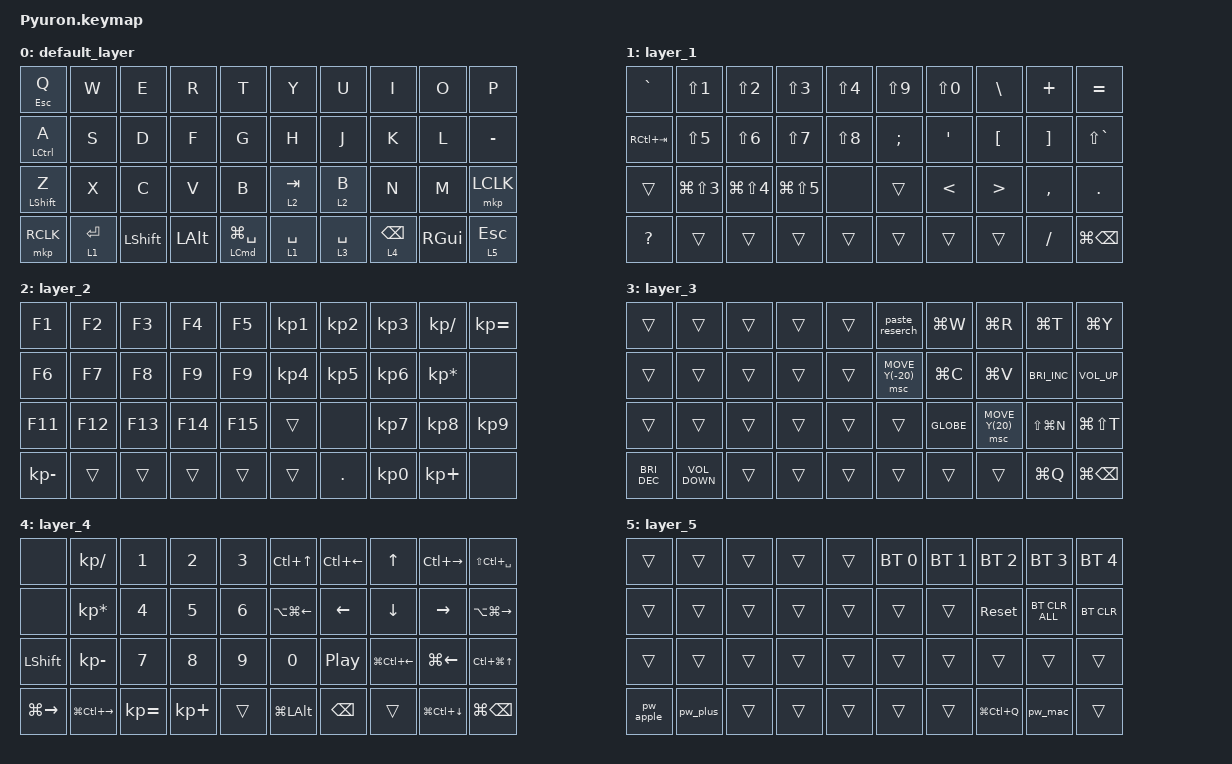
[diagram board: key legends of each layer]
#include <behaviors.dtsi>
#include <dt-bindings/zmk/bt.h>
#include <dt-bindings/zmk/keys.h>
#include <dt-bindings/zmk/pointing.h>

#define MOUSE 6

&mt {
    flavor = "balanced";
    quick-tap-ms = <0>;
};

/ {
    combos { compatible = "zmk,combos"; };

    macros {
        paste_reserch: paste_reserch {
            compatible = "zmk,behavior-macro";
            #binding-cells = <0>;
            bindings =
                <&kp LG(C)>,
                <&macro_wait_time 200>,
                <&kp LG(T)>,
                <&macro_wait_time 200>,
                <&kp LG(V)>,
                <&macro_wait_time 200>,
                <&kp ENTER>,
                <&macro_press>;

            label = "PASTE_RESERCH";
        };

        pw_mac: pq_mac {
            compatible = "zmk,behavior-macro";
            #binding-cells = <0>;
            bindings = <&kp N0 &kp N0 &kp N0 &kp N1 &kp N0 &kp N2 &kp ENTER>;
            label = "PQ_MAC";
        };

        pw_plus: pw_plus {
            compatible = "zmk,behavior-macro";
            #binding-cells = <0>;
            bindings = <&kp P &kp L &kp U &kp S &kp N1 &kp N0 &kp N2 &kp N0 &kp RETURN>;
            label = "PW_PLUS";
        };

        pw_apple: pw_apple {
            compatible = "zmk,behavior-macro";
            #binding-cells = <0>;
            bindings = <&kp R &kp LS(I) &kp N1 &kp H &kp N &kp A &kp G &kp T &kp O &kp E &kp RETURN>;
            label = "PW_APPLE";
        };
    };
};

/ {
    keymap {
        compatible = "zmk,keymap";

        default_layer {
            bindings = <
&mt ESC Q           &kp W        &kp E           &kp R         &kp T                       &kp Y        &kp U        &kp I            &kp O          &kp P
&mt LEFT_CONTROL A  &kp S        &kp D           &kp F         &kp G                       &kp H        &kp J        &kp K            &kp L          &kp MINUS
&mt LEFT_SHIFT Z    &kp X        &kp C           &kp V         &kp B                       &lt 2 TAB    &lt 2 B      &kp N            &kp M          &mkp LCLK
&mkp RCLK           &lt 1 ENTER  &kp LEFT_SHIFT  &kp LEFT_ALT  &mt LEFT_COMMAND LG(SPACE)  &lt 1 SPACE  &lt 3 SPACE  &lt 4 BACKSPACE  &kp RIGHT_GUI  &lt 5 ESCAPE
            >;
        };

        layer_1 {
            bindings = <
&kp GRAVE     &kp LS(NUMBER_1)      &kp LS(NUMBER_2)      &kp LS(NUMBER_3)  &kp LS(NUMBER_4)  &kp LS(N9)     &kp LS(N0)     &kp BACKSLASH     &kp PLUS           &kp EQUAL
&kp RC(TAB)   &kp LS(N5)            &kp LS(NUMBER_6)      &kp LS(N7)        &kp LS(N8)        &kp SEMICOLON  &kp SQT        &kp LEFT_BRACKET  &kp RIGHT_BRACKET  &kp LS(GRAVE)
&trans        &kp LG(LS(NUMBER_3))  &kp LG(LS(NUMBER_4))  &kp LG(LS(N5))    &none             &trans         &kp LESS_THAN  &kp GREATER_THAN  &kp COMMA          &kp PERIOD
&kp QUESTION  &trans                &trans                &trans            &trans            &trans         &trans         &trans            &kp FSLH           &kp LG(BACKSPACE)
            >;
        };

        layer_2 {
            bindings = <
&kp F1        &kp F2   &kp F3   &kp F4   &kp F5   &kp KP_NUMBER_1  &kp KP_NUMBER_2  &kp KP_NUMBER_3  &kp KP_SLASH     &kp KP_EQUAL
&kp F6        &kp F7   &kp F8   &kp F9   &kp F9   &kp KP_NUMBER_4  &kp KP_NUMBER_5  &kp KP_NUMBER_6  &kp KP_ASTERISK  &none
&kp F11       &kp F12  &kp F13  &kp F14  &kp F15  &trans           &none            &kp KP_NUMBER_7  &kp KP_NUMBER_8  &kp KP_NUMBER_9
&kp KP_MINUS  &trans   &trans   &trans   &trans   &trans           &kp PERIOD       &kp KP_NUMBER_0  &kp KP_PLUS      &none
            >;
        };

        layer_3 {
            bindings = <
&trans                &trans             &trans  &trans  &trans  &paste_reserch    &kp LG(W)  &kp LG(R)        &kp LG(T)             &kp LG(Y)
&trans                &trans             &trans  &trans  &trans  &msc MOVE_Y(-20)  &kp LG(C)  &kp LG(V)        &kp C_BRIGHTNESS_INC  &kp C_VOLUME_UP
&trans                &trans             &trans  &trans  &trans  &trans            &kp GLOBE  &msc MOVE_Y(20)  &kp LS(LG(N))         &kp LG(LS(T))
&kp C_BRIGHTNESS_DEC  &kp C_VOLUME_DOWN  &trans  &trans  &trans  &trans            &trans     &trans           &kp LG(Q)             &kp LG(BACKSPACE)
            >;
        };

        layer_4 {
            bindings = <
&none                &kp KP_SLASH             &kp NUMBER_1  &kp NUMBER_2  &kp NUMBER_3  &kp LC(UP_ARROW)        &kp LC(LEFT)      &kp UP_ARROW            &kp LC(RIGHT)           &kp LS(LC(SPACE))
&none                &kp KP_MULTIPLY          &kp NUMBER_4  &kp N5        &kp NUMBER_6  &kp LA(LG(LEFT_ARROW))  &kp LEFT_ARROW    &kp DOWN_ARROW          &kp RIGHT_ARROW         &kp LA(LG(RIGHT_ARROW))
&kp LEFT_SHIFT       &kp KP_MINUS             &kp N7        &kp N8        &kp N9        &kp N0                  &kp C_PLAY_PAUSE  &kp LG(LC(LEFT_ARROW))  &kp LG(LEFT_ARROW)      &kp LC(LG(UP_ARROW))
&kp LG(RIGHT_ARROW)  &kp LG(LC(RIGHT_ARROW))  &kp KP_EQUAL  &kp KP_PLUS   &trans        &kp LG(LEFT_ALT)        &kp BACKSPACE     &trans                  &kp LG(LC(DOWN_ARROW))  &kp LG(BACKSPACE)
            >;
        };

        layer_5 {
            bindings = <
&trans     &trans    &trans  &trans  &trans  &bt BT_SEL 0  &bt BT_SEL 1  &bt BT_SEL 2   &bt BT_SEL 3    &bt BT_SEL 4
&trans     &trans    &trans  &trans  &trans  &trans        &trans        &sys_reset     &bt BT_CLR_ALL  &bt BT_CLR
&trans     &trans    &trans  &trans  &trans  &trans        &trans        &trans         &trans          &trans
&pw_apple  &pw_plus  &trans  &trans  &trans  &trans        &trans        &kp LG(LC(Q))  &pw_mac         &trans
            >;
        };
    };
};
